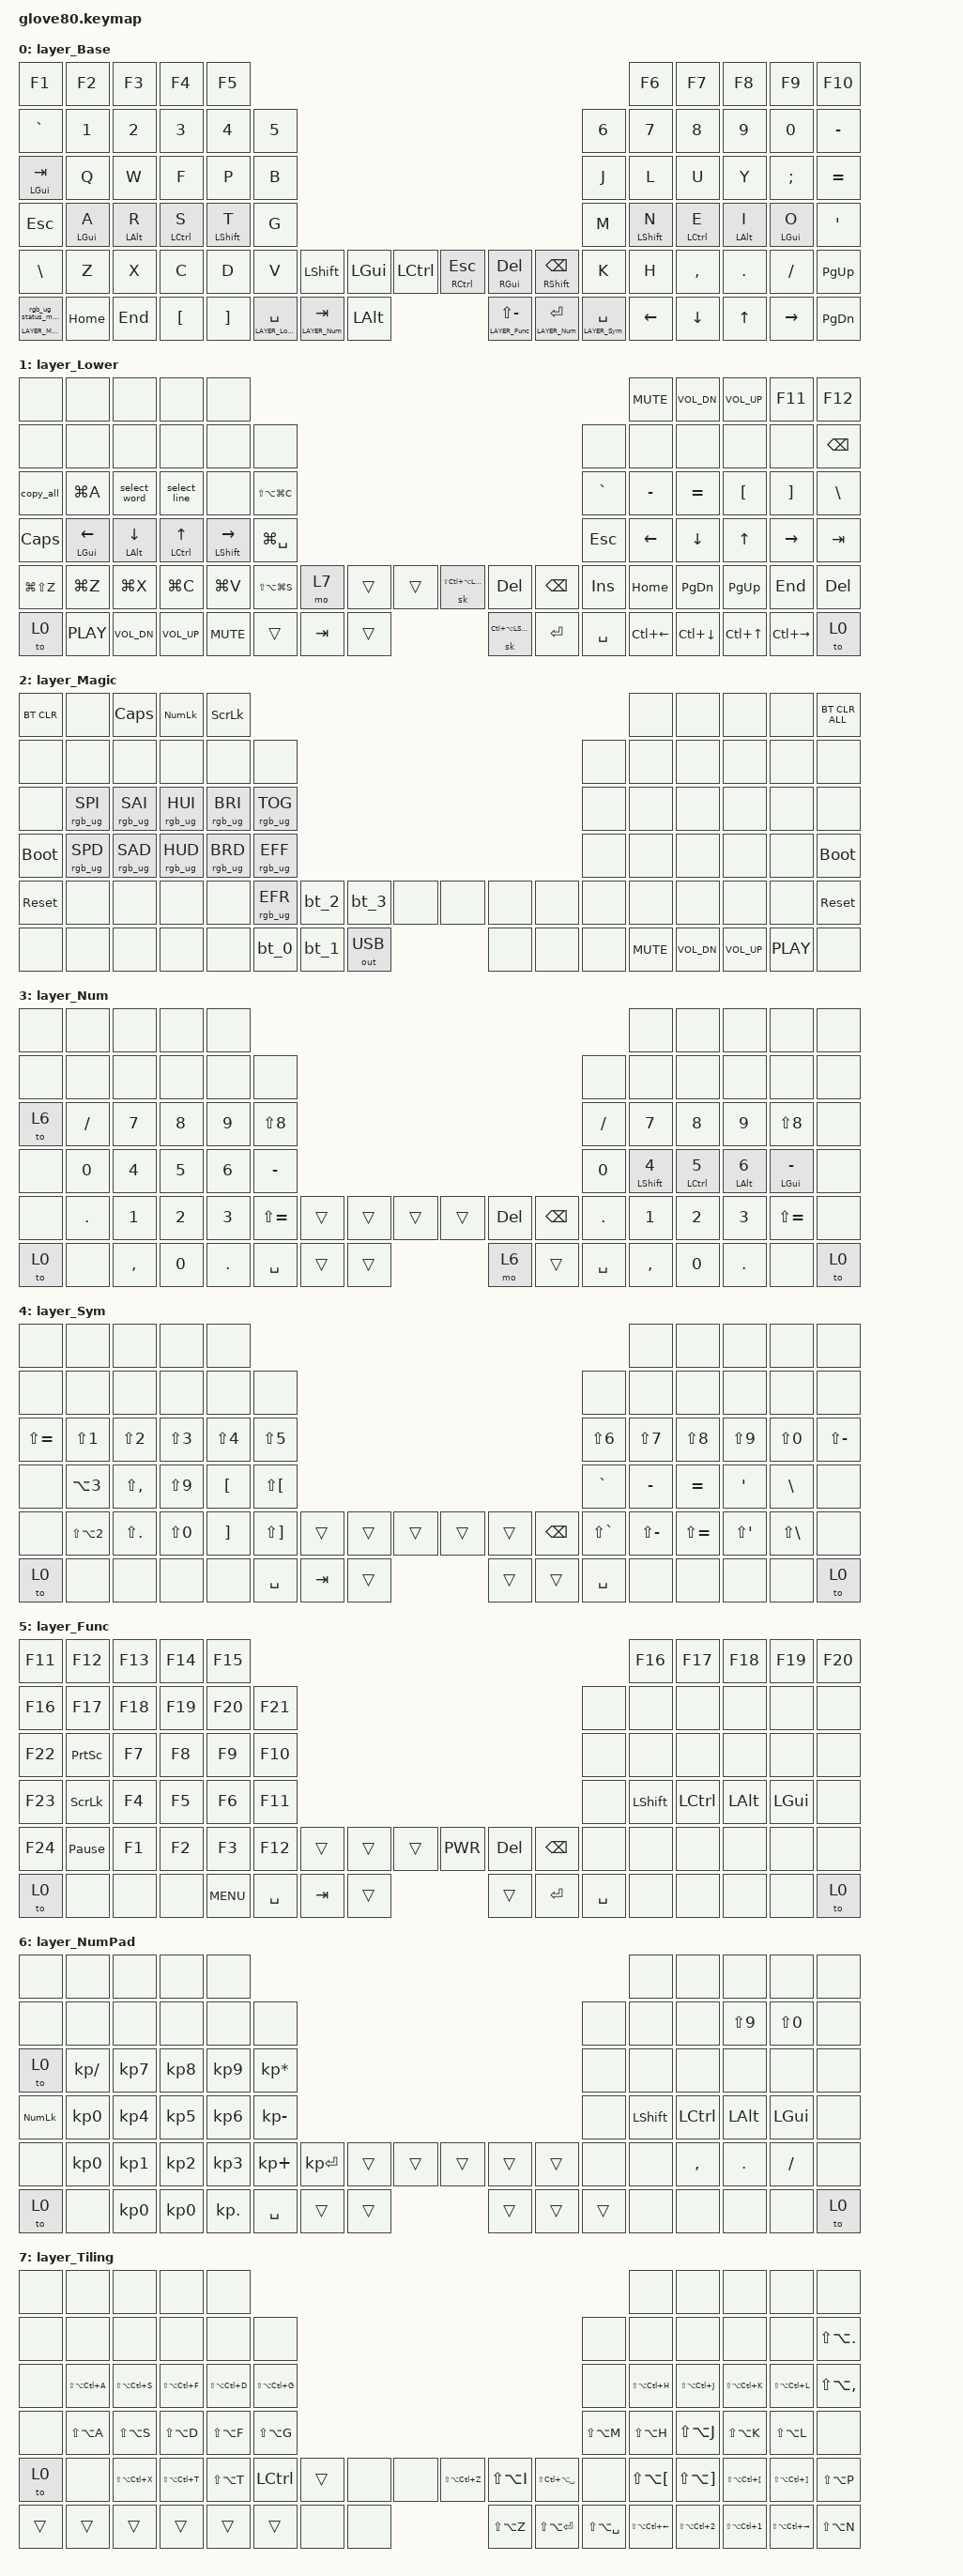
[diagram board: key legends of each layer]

/*
 * Copyright (c) 2020 The ZMK Contributors
 * Copyright (c) 2023 Innaworks Development Limited, trading as MoErgo
 *
 * SPDX-License-Identifier: MIT
 */


/* THIS FILE WAS GENERATED BY GLOVE80 LAYOUT EDITOR
 *
 * This file was generated automatically. You may or may not want to
 * edit it directly.
 */

#include <behaviors.dtsi>
/* Include all behaviour includes needed */
#include <dt-bindings/zmk/outputs.h>
#include <dt-bindings/zmk/keys.h>
#include <dt-bindings/zmk/bt.h>
#include <dt-bindings/zmk/rgb.h>

/* Automatically generated layer name #define */
#define LAYER_Base 0
#define LAYER_Lower 1
#define LAYER_Magic 2
#define LAYER_Num 3
#define LAYER_Sym 4
#define LAYER_Func 5
#define LAYER_NumPad 6
#define LAYER_Tiling 7

/* To deal with the situation where there is no Lower layer, to keep &lower happy */
#ifndef LAYER_Lower
#define LAYER_Lower 0
#endif

/* Custom Device-tree */



/* Glove80 system behavior & macros */
/ {
    behaviors {
        // For the "layer" key, it'd nice to be able to use it as either a shift or a toggle.
        // Configure it as a tap dance, so the first tap (or hold) is a &mo and the second tap is a &to
        lower: lower {
            compatible = "zmk,behavior-tap-dance";
            label = "LAYER_TAP_DANCE";
            #binding-cells = <0>;
            tapping-term-ms = <200>;
            bindings = <&mo LAYER_Lower>, <&to LAYER_Lower>;
        };
    };
};

/ {
    macros {
        rgb_ug_status_macro: rgb_ug_status_macro {
            label = "RGB_UG_STATUS";
            compatible = "zmk,behavior-macro";
            #binding-cells = <0>;
            bindings
                = <&rgb_ug RGB_STATUS>;
        };

        bt_0: bt_0 {
            label = "BT_0";
            compatible = "zmk,behavior-macro";
            #binding-cells = <0>;
            bindings
                = <&out OUT_BLE>,
                  <&bt BT_SEL 0>;
        };

        bt_1: bt_1 {
            label = "BT_1";
            compatible = "zmk,behavior-macro";
            #binding-cells = <0>;
            bindings
                = <&out OUT_BLE>,
                  <&bt BT_SEL 1>;
        };

        bt_2: bt_2 {
            label = "BT_2";
            compatible = "zmk,behavior-macro";
            #binding-cells = <0>;
            bindings
                = <&out OUT_BLE>,
                  <&bt BT_SEL 2>;
        };

        bt_3: bt_3 {
            label = "BT_3";
            compatible = "zmk,behavior-macro";
            #binding-cells = <0>;
            bindings
                = <&out OUT_BLE>,
                  <&bt BT_SEL 3>;
        };
    };
};

/ {
    behaviors {
        magic: magic {
            compatible = "zmk,behavior-hold-tap";
            label = "MAGIC_HOLD_TAP";
            #binding-cells = <2>;
            flavor = "tap-preferred";
            tapping-term-ms = <200>;
            bindings = <&mo>, <&rgb_ug_status_macro>;
        };
    };
};

/* #define for key positions */
#define POS_LH_T1 52
#define POS_LH_T2 53
#define POS_LH_T3 54
#define POS_LH_T4 69
#define POS_LH_T5 70
#define POS_LH_T6 71
#define POS_LH_C1R2 15
#define POS_LH_C1R3 27
#define POS_LH_C1R4 39
#define POS_LH_C1R5 51
#define POS_LH_C2R1 4
#define POS_LH_C2R2 14
#define POS_LH_C2R3 26
#define POS_LH_C2R4 38
#define POS_LH_C2R5 50
#define POS_LH_C2R6 68
#define POS_LH_C3R1 3
#define POS_LH_C3R2 13
#define POS_LH_C3R3 25
#define POS_LH_C3R4 37
#define POS_LH_C3R5 49
#define POS_LH_C3R6 67
#define POS_LH_C4R1 2
#define POS_LH_C4R2 12
#define POS_LH_C4R3 24
#define POS_LH_C4R4 36
#define POS_LH_C4R5 48
#define POS_LH_C4R6 66
#define POS_LH_C5R1 1
#define POS_LH_C5R2 11
#define POS_LH_C5R3 23
#define POS_LH_C5R4 35
#define POS_LH_C5R5 47
#define POS_LH_C5R6 65
#define POS_LH_C6R1 0
#define POS_LH_C6R2 10
#define POS_LH_C6R3 22
#define POS_LH_C6R4 34
#define POS_LH_C6R5 46
#define POS_LH_C6R6 64
#define POS_RH_T1 57
#define POS_RH_T2 56
#define POS_RH_T3 55
#define POS_RH_T4 74
#define POS_RH_T5 73
#define POS_RH_T6 72
#define POS_RH_C1R2 16
#define POS_RH_C1R3 28
#define POS_RH_C1R4 40
#define POS_RH_C1R5 58
#define POS_RH_C2R1 5
#define POS_RH_C2R2 17
#define POS_RH_C2R3 29
#define POS_RH_C2R4 41
#define POS_RH_C2R5 59
#define POS_RH_C2R6 75
#define POS_RH_C3R1 6
#define POS_RH_C3R2 18
#define POS_RH_C3R3 30
#define POS_RH_C3R4 42
#define POS_RH_C3R5 60
#define POS_RH_C3R6 76
#define POS_RH_C4R1 7
#define POS_RH_C4R2 19
#define POS_RH_C4R3 31
#define POS_RH_C4R4 43
#define POS_RH_C4R5 61
#define POS_RH_C4R6 77
#define POS_RH_C5R1 8
#define POS_RH_C5R2 20
#define POS_RH_C5R3 32
#define POS_RH_C5R4 44
#define POS_RH_C5R5 62
#define POS_RH_C5R6 78
#define POS_RH_C6R1 9
#define POS_RH_C6R2 21
#define POS_RH_C6R3 33
#define POS_RH_C6R4 45
#define POS_RH_C6R5 63
#define POS_RH_C6R6 79

    /* Custom Defined Behaviors */
/ {
    #define COMBO_TIMEOUT       50
#define COMBO_TIMEOUT_SHORT 35

#define MACRO_WAIT_TIME     30
#define MACRO_TAP_TIME      30


behaviors {

    //////////////////////////////////////////////////////////////////////////
    //
    // Miryoku layers and home row mods (ported from my QMK endgame)
    // - https://sunaku.github.io/home-row-mods.html#porting-to-zmk
    // - https://github.com/urob/zmk-config#timeless-homerow-mods
    //
    //////////////////////////////////////////////////////////////////////////

    //
    // HOMEY_HOLDING_TYPE defines the flavor of ZMK hold-tap behavior to use
    // for the pinky, ring, and middle fingers (which are assigned to Super,
    // Alt, and Ctrl respectively in the Miryoku system) on home row keys.
    //
    #ifndef HOMEY_HOLDING_TYPE
    #define HOMEY_HOLDING_TYPE "tap-preferred"
    #endif

    //
    // HOMEY_HOLDING_TIME defines how long you need to hold (milliseconds)
    // home row mod keys in order to send their modifiers to the computer
    // (i.e. "register" them) for mod-click mouse usage (e.g. Ctrl-Click).
    //
    #ifndef HOMEY_HOLDING_TIME
    #define HOMEY_HOLDING_TIME 270 // TAPPING_TERM + ALLOW_CROSSOVER_AFTER
    #endif

    //
    // HOMEY_STREAK_DECAY defines how long you need to wait (milliseconds)
    // after typing before you can use home row mods again.  It prevents
    // unintended activation of home row mods when you're actively typing.
    //
    #ifndef HOMEY_STREAK_DECAY
    #define HOMEY_STREAK_DECAY 170 // global-quick-tap-ms
    #endif

    //
    // HOMEY_REPEAT_DECAY defines how much time you have left (milliseconds)
    // after tapping a key to hold it again in order to make it auto-repeat.
    //
    #ifndef HOMEY_REPEAT_DECAY
    #define HOMEY_REPEAT_DECAY 300 // "tap then hold" for key auto-repeat
    #endif

    //
    // SHIFT_HOLDING_TYPE defines the flavor of ZMK hold-tap behavior to use
    // for index fingers (which Miryoku assigns to Shift) on home row keys.
    //
    // NOTE: The "tap-preferred" flavor of ZMK hold-tap for index finger keys
    // allows faster activation of the Shift modifier (without having to wait
    // for the modified key to be released as the "balanced" flavor requires).
    // Typing streaks and the `hold-trigger-on-release` setting are disabled
    // for the index fingers so as not to hinder their speed and dexterity.
    //
    #ifndef SHIFT_HOLDING_TYPE
    #define SHIFT_HOLDING_TYPE "tap-preferred"
    #endif

    //
    // SHIFT_HOLDING_TIME defines how long you need to hold (milliseconds)
    // index finger keys in order to send their modifiers to the computer
    // (i.e. "register" them) for mod-click mouse usage (e.g. Shift-Click).
    //
    // CAUTION: You'll need to perform inward rolls from pinky->ring->middle
    // fingers toward the index fingers when activating multiple modifiers
    // because `hold-trigger-on-release` is disabled for the index fingers.
    // Otherwise, you may be surprised that the index fingers' modifier is
    // sent immediately without the rest of your multi-mod chord when you
    // perform outward rolls from your index fingers toward your pinkies.
    //
    #ifndef SHIFT_HOLDING_TIME
    #define SHIFT_HOLDING_TIME 170
    #endif

    //
    // SHIFT_STREAK_DECAY defines how long you need to wait (milliseconds)
    // after typing before you can use home row mods again.  It prevents
    // unintended activation of home row mods when you're actively typing.
    //
    #ifndef SHIFT_STREAK_DECAY
    #define SHIFT_STREAK_DECAY 70 // global-quick-tap-ms
    #endif

    //
    // SHIFT_REPEAT_DECAY defines how much time you have left (milliseconds)
    // after tapping a key to hold it again in order to make it auto-repeat.
    //
    #ifndef SHIFT_REPEAT_DECAY
    #define SHIFT_REPEAT_DECAY 300 // "tap then hold" for key auto-repeat
    #endif

    //
    // THUMB_HOLDING_TYPE defines the flavor of ZMK hold-tap behavior to use
    // for the thumbs (which are assigned to 6 layers in the Miryoku system).
    //
    // NOTE: The "balanced" flavor of ZMK hold-tap provides instant modifier
    // activation for the symbol layer (if the tapped symbol key is released
    // while the thumb layer key is still held down) for quicker programming.
    //
    #ifndef THUMB_HOLDING_TYPE
    #define THUMB_HOLDING_TYPE "balanced"
    #endif

    //
    // THUMB_HOLDING_TIME defines how long you need to hold (milliseconds)
    // a thumb key to activate a layer.  Shorter holds are treated as taps.
    //
    #ifndef THUMB_HOLDING_TIME
    #define THUMB_HOLDING_TIME 200
    #endif

    //
    // THUMB_REPEAT_DECAY defines how much time you have left (milliseconds)
    // after tapping a key to hold it again in order to make it auto-repeat.
    //
    #ifndef THUMB_REPEAT_DECAY
    #define THUMB_REPEAT_DECAY 300 // "tap then hold" for key auto-repeat
    #endif

    //
    // SPACE_HOLDING_TIME defines how long you need to hold (milliseconds)
    // the space thumb key to activate.  Shorter holds are treated as taps.
    //
    #ifndef SPACE_HOLDING_TIME
    #define SPACE_HOLDING_TIME 170
    #endif

    //
    // SPACE_REPEAT_DECAY defines how much time you have left (milliseconds)
    // after tapping a key to hold it again in order to make it auto-repeat.
    //
    #ifndef SPACE_REPEAT_DECAY
    #define SPACE_REPEAT_DECAY 200 // "tap then hold" for key auto-repeat
    #endif

    //
    // Glove80 key positions index for positional hold-tap
    // - https://discord.com/channels/877392805654306816/937645688244826154/1066713913351221248
    // - https://media.discordapp.net/attachments/937645688244826154/1066713913133121556/image.png
    //
    // |------------------------|------------------------|
    // | LEFT_HAND_KEYS         |        RIGHT_HAND_KEYS |
    // |                        |                        |
    // |  0  1  2  3  4         |          5  6  7  8  9 |
    // | 10 11 12 13 14 15      |      16 17 18 19 20 21 |
    // | 22 23 24 25 26 27      |      28 29 30 31 32 33 |
    // | 34 35 36 37 38 39      |      40 41 42 43 44 45 |
    // | 46 47 48 49 50 51      |      58 59 60 61 62 63 |
    // | 64 65 66 67 68         |         75 76 77 78 79 |
    // |                69 52   |   57 74                |
    // |                 70 53  |  56 73                 |
    // |                  71 54 | 55 72                  |
    // |------------------------|------------------------|
    //
    #define LEFT_HAND_KEYS      \
          0  1  2  3  4         \
         10 11 12 13 14 15      \
         22 23 24 25 26 27      \
         34 35 36 37 38 39      \
         46 47 48 49 50 51      \
         64 65 66 67 68
    #define RIGHT_HAND_KEYS     \
                                           5  6  7  8  9 \
                                       16 17 18 19 20 21 \
                                       28 29 30 31 32 33 \
                                       40 41 42 43 44 45 \
                                       58 59 60 61 62 63 \
                                          75 76 77 78 79
    #define THUMB_KEYS          \
                        69 52       57 74                \
                         70 53     56 73                 \
                          71 54   55 72

    //
    // Home row mod-tap keys for all except index fingers
    //
    hrm_l: miryoku_home_row_mods_left_hand {
        compatible = "zmk,behavior-hold-tap";
        label = "HOME_ROW_MODS_LEFT_HAND";
        flavor = HOMEY_HOLDING_TYPE;
        hold-trigger-key-positions = <RIGHT_HAND_KEYS THUMB_KEYS>;
        hold-trigger-on-release; // wait for other home row mods
        tapping-term-ms = <HOMEY_HOLDING_TIME>;
        quick-tap-ms = <HOMEY_REPEAT_DECAY>;
        require-prior-idle-ms = <HOMEY_STREAK_DECAY>;
        #binding-cells = <2>;
        bindings = <&kp>, <&kp>;
    };
    hrm_r: miryoku_home_row_mods_right_hand {
        compatible = "zmk,behavior-hold-tap";
        label = "HOME_ROW_MODS_RIGHT_HAND";
        flavor = HOMEY_HOLDING_TYPE;
        hold-trigger-key-positions = <LEFT_HAND_KEYS THUMB_KEYS>;
        hold-trigger-on-release; // wait for other home row mods
        tapping-term-ms = <HOMEY_HOLDING_TIME>;
        quick-tap-ms = <HOMEY_REPEAT_DECAY>;
        require-prior-idle-ms = <HOMEY_STREAK_DECAY>;
        #binding-cells = <2>;
        bindings = <&kp>, <&kp>;
    };

    //
    // Special home row mod-tap keys for the index fingers
    //
    hrm_li: miryoku_home_row_mods_left_shift_shift {
        compatible = "zmk,behavior-hold-tap";
        label = "HOME_ROW_MODS_LEFT_SHIFT_SHIFT";
        flavor = SHIFT_HOLDING_TYPE;
        hold-trigger-key-positions = <RIGHT_HAND_KEYS THUMB_KEYS>;
        //hold-trigger-on-release; // don't wait for other mods
        tapping-term-ms = <SHIFT_HOLDING_TIME>;
        quick-tap-ms = <SHIFT_REPEAT_DECAY>;
        require-prior-idle-ms = <SHIFT_STREAK_DECAY>;
        #binding-cells = <2>;
        bindings = <&kp>, <&kp>;
    };
    hrm_ri: miryoku_home_row_mods_right_shift_shift {
        compatible = "zmk,behavior-hold-tap";
        label = "HOME_ROW_MODS_RIGHT_SHIFT_SHIFT";
        flavor = SHIFT_HOLDING_TYPE;
        hold-trigger-key-positions = <LEFT_HAND_KEYS THUMB_KEYS>;
        //hold-trigger-on-release; // don't wait for other mods
        tapping-term-ms = <SHIFT_HOLDING_TIME>;
        quick-tap-ms = <SHIFT_REPEAT_DECAY>;
        require-prior-idle-ms = <SHIFT_STREAK_DECAY>;
        #binding-cells = <2>;
        bindings = <&kp>, <&kp>;
    };

    //
    // Thumb cluster hold-tap keys for Miryoku layers
    //
    thumb: miryoku_thumb_layer {
        compatible = "zmk,behavior-hold-tap";
        label = "MIRYOKU_THUMB_LAYER";
        flavor = THUMB_HOLDING_TYPE;
        tapping-term-ms = <THUMB_HOLDING_TIME>;
        quick-tap-ms = <THUMB_REPEAT_DECAY>; // enable repeat
        //global-quick-tap; // no typing streak
        //retro-tap; // don't allow slow (hold-like) taps
        #binding-cells = <2>;
        bindings = <&mo>, <&kp>;
    };
    space: miryoku_thumb_layer_spacebar {
        compatible = "zmk,behavior-hold-tap";
        label = "MIRYOKU_THUMB_LAYER_SPACEBAR";
        flavor = THUMB_HOLDING_TYPE;
        tapping-term-ms = <SPACE_HOLDING_TIME>;
        quick-tap-ms = <SPACE_REPEAT_DECAY>; // enable repeat
        //global-quick-tap; // no typing streak
        retro-tap; // allow slow (hold-like) taps
        #binding-cells = <2>;
        bindings = <&mo>, <&kp>;
    };

    t_mt: thumb_mt {
        compatible = "zmk,behavior-hold-tap";
        label = "THUMB_MOD_TAP";
        flavor = THUMB_HOLDING_TYPE;
        tapping-term-ms = <SPACE_HOLDING_TIME>;
        quick-tap-ms = <SPACE_REPEAT_DECAY>; // enable repeat
        //global-quick-tap; // no typing streak
        retro-tap; // allow slow (hold-like) taps
        #binding-cells = <2>;
        bindings = <&kp>, <&kp>;
    };

//    hyper_esc: hyper_esc_key {
//        compatible = "zmk,behavior-hold-tap";
//        label = "HYPER_ESC_KEY";
//        flavor = THUMB_HOLDING_TYPE;
//        tapping-term-ms = <THUMB_HOLDING_TIME>;
//        quick-tap-ms = <THUMB_REPEAT_DECAY>; // enable repeat
//        //global-quick-tap; // no typing streak
//        //retro-tap; // don't allow slow (hold-like) taps
//        #binding-cells = <0>;
//        bindings = <&kp LG(LA(LC(LSHFT)))>, <&kp ESC>;
//    };

    //////////////////////////////////////////////////////////////////////////
    //
    // Custom shifted pairs
    //
    //////////////////////////////////////////////////////////////////////////

    //
    // Shift + CapsWord = CapsLock
    //
    cappy: capsword_and_capslock {
        compatible = "zmk,behavior-mod-morph";
        label = "CAPSWORD_AND_CAPSLOCK";
        #binding-cells = <0>;
        bindings = <&caps_word>, <&kp CAPSLOCK>;
        mods = <(MOD_LSFT|MOD_RSFT)>;
    };

    //////////////////////////////////////////////////////////////////////////
    //
    // ZMK global overrides
    //
    //////////////////////////////////////////////////////////////////////////

    //
    // CapsWord - ported from Pascal Getreuer's extension for QMK
    // - https://zmk.dev/docs/behaviors/caps-word
    // - https://getreuer.info/posts/keyboards/caps-word/index.html
    //
    behavior_caps_word {
        continue-list = <
            UNDERSCORE MINUS
            BACKSPACE DELETE
            N1 N2 N3 N4 N5 N6 N7 N8 N9 N0
        >;
    };

};


macros {
    // Reference: https://zmk.dev/docs/behaviors/macros

    #ifndef MACRO_WAIT_TIME
    #define MACRO_WAIT_TIME 30
    #endif

    #ifndef MACRO_TAP_TIME
    #define MACRO_TAP_TIME 30
    #endif

    select_line: select_line_macro {
        label = "SEL_LINE";
        compatible = "zmk,behavior-macro";
        #binding-cells = <0>;
        wait-ms = <MACRO_WAIT_TIME>;
        tap-ms = <MACRO_TAP_TIME>;
        bindings = <&kp LG(RIGHT) &kp LG(LEFT) &kp LG(LS(RIGHT))>;
    };

    select_word: select_word_macro {
        label = "SEL_WORD";
        compatible = "zmk,behavior-macro";
        #binding-cells = <0>;
        wait-ms = <MACRO_WAIT_TIME>;
        tap-ms = <MACRO_TAP_TIME>;
        bindings = <&kp LA(RIGHT) &kp LA(LEFT) &kp LA(LS(RIGHT))>;
    };

    copy_all: copy_all_macro {
        label = "COPY_ALL";
        compatible = "zmk,behavior-macro";
        #binding-cells = <0>;
        wait-ms = <MACRO_WAIT_TIME>;
        tap-ms = <MACRO_TAP_TIME>;
        bindings = <&kp LG(A) &kp LG(C)>;
    };
};


/*
conditional_layers {
    // Reference: https://zmk.dev/docs/features/conditional-layers

    compatible = "zmk,conditional-layers";
    tri_layer {
        if-layers = <1 3>;
        then-layer = <7>;
    };
};
*/


combos {
    // Reference: https://zmk.dev/docs/features/combos

    #ifndef COMBO_TIMEOUT
    #define COMBO_TIMEOUT 50
    #endif

    #ifndef COMBO_TIMEOUT_SHORT
    #define COMBO_TIMEOUT_SHORT 35
    #endif

    compatible = "zmk,combos";
    combo_amethyst {
        // Left thumb T1+T4 -> MO Layer 7
        bindings = <&mo 7>;
        key-positions = <69 52>;
        layers = <0>;
        timeout-ms = <COMBO_TIMEOUT>;
    };

    combo_alfred {
        // Left & Right T5s -> LG(SPACE)
        bindings = <&kp LG(SPACE)>;
        key-positions = <70 73>;
        layers = <0>;
        timeout-ms = <COMBO_TIMEOUT>;
    };

    combo_l_hyper {
        // Left T2+T3 -> Left Hyper
        timeout-ms = <COMBO_TIMEOUT>;
        key-positions = <53 54>;
        bindings = <&kp LG(LC(LA(LSHIFT)))>;
    };

    combo_r_hyper {
        // Right T2+T3 -> Right Hyper
        timeout-ms = <COMBO_TIMEOUT>;
        key-positions = <55 56>;
        bindings = <&kp RG(RC(RA(RSHIFT)))>;
    };
};

};

    /* Automatically generated keymap */
/ {
    keymap {
        compatible = "zmk,keymap";


        layer_Base {
            bindings = <
               &kp F1         &kp F2         &kp F3          &kp F4           &kp F5                                                                                                                                                                   &kp F6          &kp F7         &kp F8         &kp F9    &kp F10
            &kp GRAVE         &kp N1         &kp N2          &kp N3           &kp N4  &kp N5                                                                                                                                          &kp N6           &kp N7          &kp N8         &kp N9         &kp N0  &kp MINUS
         &mt LGUI TAB          &kp Q          &kp W           &kp F            &kp P   &kp B                                                                                                                                           &kp J            &kp L           &kp U          &kp Y       &kp SEMI  &kp EQUAL
              &kp ESC  &hrm_l LGUI A  &hrm_l LALT R  &hrm_l LCTRL S  &hrm_li LSHFT T   &kp G                                                                                                                                           &kp M  &hrm_ri LSHFT N  &hrm_r LCTRL E  &hrm_r LALT I  &hrm_r LGUI O    &kp SQT
             &kp BSLH          &kp Z          &kp X           &kp C            &kp D   &kp V                 &kp LSHFT              &kp LGUI  &kp LCTRL              &t_mt RCTRL ESC       &t_mt RGUI DELETE   &t_mt RSHFT BACKSPACE   &kp K            &kp H       &kp COMMA        &kp DOT       &kp FSLH  &kp PG_UP
 &magic LAYER_Magic 0       &kp HOME        &kp END        &kp LBKT         &kp RBKT          &space LAYER_Lower SPACE  &thumb LAYER_Num TAB   &kp LALT  &thumb LAYER_Func LS(MINUS)  &thumb LAYER_Num ENTER  &space LAYER_Sym SPACE                 &kp LEFT        &kp DOWN         &kp UP      &kp RIGHT  &kp PG_DN
            >;
        };

        layer_Lower {
            bindings = <
         &none          &none          &none         &none            &none                                                                                                     &kp C_MUTE  &kp C_VOL_DN  &kp C_VOL_UP        &kp F11   &kp F12
         &none          &none          &none         &none            &none              &none                                                                         &none         &none         &none         &none          &none  &kp BSPC
     &copy_all      &kp LG(A)   &select_word  &select_line            &none  &kp LS(LA(LG(C)))                                                                     &kp GRAVE     &kp MINUS     &kp EQUAL      &kp LBKT       &kp RBKT  &kp BSLH
      &kp CAPS  &mt LGUI LEFT  &mt LALT DOWN  &mt LCTRL UP  &mt LSHFT RIGHT      &kp LG(SPACE)                                                                       &kp ESC      &kp LEFT      &kp DOWN        &kp UP      &kp RIGHT   &kp TAB
 &kp LG(LS(Z))      &kp LG(Z)      &kp LG(X)     &kp LG(C)        &kp LG(V)  &kp LS(LA(LG(S)))   &mo 7   &trans  &trans  &sk LS(LC(LA(LGUI)))  &kp DEL   &kp BSPC    &kp INS      &kp HOME     &kp PG_DN     &kp PG_UP        &kp END   &kp DEL
         &to 0     &kp C_PLAY   &kp C_VOL_DN  &kp C_VOL_UP       &kp C_MUTE                     &trans  &kp TAB  &trans     &sk LC(LA(LSHFT))  &kp RET  &kp SPACE             &kp LC(LEFT)  &kp LC(DOWN)    &kp LC(UP)  &kp LC(RIGHT)     &to 0
            >;
        };

        layer_Magic {
            bindings = <
  &bt BT_CLR            &none         &kp CAPS       &kp KP_NUM         &kp SLCK                                                                                      &none         &none         &none       &none  &bt BT_CLR_ALL
       &none            &none            &none            &none            &none            &none                                                         &none       &none         &none         &none       &none           &none
       &none  &rgb_ug RGB_SPI  &rgb_ug RGB_SAI  &rgb_ug RGB_HUI  &rgb_ug RGB_BRI  &rgb_ug RGB_TOG                                                         &none       &none         &none         &none       &none           &none
 &bootloader  &rgb_ug RGB_SPD  &rgb_ug RGB_SAD  &rgb_ug RGB_HUD  &rgb_ug RGB_BRD  &rgb_ug RGB_EFF                                                         &none       &none         &none         &none       &none     &bootloader
  &sys_reset            &none            &none            &none            &none  &rgb_ug RGB_EFR   &bt_2   &bt_3         &none   &none   &none   &none   &none       &none         &none         &none       &none      &sys_reset
       &none            &none            &none            &none            &none                    &bt_0   &bt_1  &out OUT_USB   &none   &none   &none          &kp C_MUTE  &kp C_VOL_DN  &kp C_VOL_UP  &kp C_PLAY           &none
            >;
        };

        layer_Num {
            bindings = <
  &none     &none      &none   &none    &none                                                                                         &none         &none        &none           &none   &none
  &none     &none      &none   &none    &none          &none                                                            &none         &none         &none        &none           &none   &none
  &to 6  &kp FSLH     &kp N7  &kp N8   &kp N9     &kp LS(N8)                                                         &kp FSLH        &kp N7        &kp N8       &kp N9      &kp LS(N8)   &none
  &none    &kp N0     &kp N4  &kp N5   &kp N6      &kp MINUS                                                           &kp N0  &mt LSHFT N4  &mt LCTRL N5  &mt LALT N6  &mt LGUI MINUS   &none
  &none   &kp DOT     &kp N1  &kp N2   &kp N3  &kp LS(EQUAL)     &trans  &trans  &trans  &trans  &kp DEL   &kp BSPC   &kp DOT        &kp N1        &kp N2       &kp N3   &kp LS(EQUAL)   &none
  &to 0     &none  &kp COMMA  &kp N0  &kp DOT                 &kp SPACE  &trans  &trans   &mo 6   &trans  &kp SPACE               &kp COMMA        &kp N0      &kp DOT           &none   &to 0
            >;
        };

        layer_Sym {
            bindings = <
         &none           &none          &none       &none       &none                                                                                              &none          &none        &none         &none          &none
         &none           &none          &none       &none       &none         &none                                                                 &none          &none          &none        &none         &none          &none
 &kp LS(EQUAL)      &kp LS(N1)     &kp LS(N2)  &kp LS(N3)  &kp LS(N4)    &kp LS(N5)                                                            &kp LS(N6)     &kp LS(N7)     &kp LS(N8)   &kp LS(N9)    &kp LS(N0)  &kp LS(MINUS)
         &none      &kp LA(N3)  &kp LS(COMMA)  &kp LS(N9)    &kp LBKT  &kp LS(LBKT)                                                             &kp GRAVE      &kp MINUS      &kp EQUAL      &kp SQT      &kp BSLH          &none
         &none  &kp LS(LA(N2))    &kp LS(DOT)  &kp LS(N0)    &kp RBKT  &kp LS(RBKT)     &trans   &trans  &trans  &trans  &trans   &kp BSPC  &kp LS(GRAVE)  &kp LS(MINUS)  &kp LS(EQUAL)  &kp LS(SQT)  &kp LS(BSLH)          &none
         &to 0           &none          &none       &none       &none                &kp SPACE  &kp TAB  &trans  &trans  &trans  &kp SPACE                         &none          &none        &none         &none          &to 0
            >;
        };

        layer_Func {
            bindings = <
 &kp F11          &kp F12  &kp F13  &kp F14     &kp F15                                                                                &kp F16    &kp F17   &kp F18   &kp F19  &kp F20
 &kp F16          &kp F17  &kp F18  &kp F19     &kp F20  &kp F21                                                              &none      &none      &none     &none     &none    &none
 &kp F22        &kp PSCRN   &kp F7   &kp F8      &kp F9  &kp F10                                                              &none      &none      &none     &none     &none    &none
 &kp F23         &kp SLCK   &kp F4   &kp F5      &kp F6  &kp F11                                                              &none  &kp LSHFT  &kp LCTRL  &kp LALT  &kp LGUI    &none
 &kp F24  &kp PAUSE_BREAK   &kp F1   &kp F2      &kp F3  &kp F12     &trans   &trans  &trans  &kp C_PWR  &kp DEL   &kp BSPC   &none      &none      &none     &none     &none    &none
   &to 0            &none    &none    &none  &kp C_MENU           &kp SPACE  &kp TAB  &trans     &trans  &kp RET  &kp SPACE              &none      &none     &none     &none    &to 0
            >;
        };

        layer_NumPad {
            bindings = <
      &none         &none      &none      &none       &none                                                                                     &none      &none       &none       &none   &none
      &none         &none      &none      &none       &none            &none                                                         &none      &none      &none  &kp LS(N9)  &kp LS(N0)   &none
      &to 0  &kp KP_SLASH  &kp KP_N7  &kp KP_N8   &kp KP_N9  &kp KP_MULTIPLY                                                         &none      &none      &none       &none       &none   &none
 &kp KP_NUM     &kp KP_N0  &kp KP_N4  &kp KP_N5   &kp KP_N6     &kp KP_MINUS                                                         &none  &kp LSHFT  &kp LCTRL    &kp LALT    &kp LGUI   &none
      &none     &kp KP_N0  &kp KP_N1  &kp KP_N2   &kp KP_N3      &kp KP_PLUS  &kp KP_ENTER  &trans  &trans  &trans  &trans  &trans   &none      &none  &kp COMMA     &kp DOT    &kp FSLH   &none
      &to 0         &none  &kp KP_N0  &kp KP_N0  &kp KP_DOT                      &kp SPACE  &trans  &trans  &trans  &trans  &trans              &none      &none       &none       &none   &to 0
            >;
        };

        layer_Tiling {
            bindings = <
  &none              &none              &none              &none              &none                                                                                                                                      &none               &none                 &none                  &none              &none
  &none              &none              &none              &none              &none              &none                                                                                             &none                 &none               &none                 &none                  &none    &kp LS(LA(DOT))
  &none  &kp LS(LA(LC(A)))  &kp LS(LA(LC(S)))  &kp LS(LA(LC(F)))  &kp LS(LA(LC(D)))  &kp LS(LA(LC(G)))                                                                                             &none     &kp LS(LA(LC(H)))   &kp LS(LA(LC(J)))     &kp LS(LA(LC(K)))      &kp LS(LA(LC(L)))  &kp LS(LA(COMMA))
  &none      &kp LS(LA(A))      &kp LS(LA(S))      &kp LS(LA(D))      &kp LS(LA(F))      &kp LS(LA(G))                                                                                     &kp LS(LA(M))         &kp LS(LA(H))       &kp LS(LA(J))         &kp LS(LA(K))          &kp LS(LA(L))              &none
  &to 0              &none  &kp LS(LA(LC(X)))  &kp LS(LA(LC(T)))      &kp LS(LA(T))          &kp LCTRL  &trans   &none   &none  &kp LS(LA(LC(Z)))    &kp LS(LA(I))  &kp LS(LC(LA(SPACE)))          &none      &kp LS(LA(LBKT))    &kp LS(LA(RBKT))  &kp LS(LA(LC(LBKT)))   &kp LS(LA(LC(RBKT)))      &kp LS(LA(P))
 &trans             &trans             &trans             &trans             &trans                     &trans   &none   &none      &kp LS(LA(Z))  &kp LS(LA(RET))      &kp LS(LA(SPACE))                 &kp LS(LA(LC(LEFT)))  &kp LS(LA(LC(N2)))    &kp LS(LA(LC(N1)))  &kp LS(LA(LC(RIGHT)))      &kp LS(LA(N))
            >;
        };

    };
};
